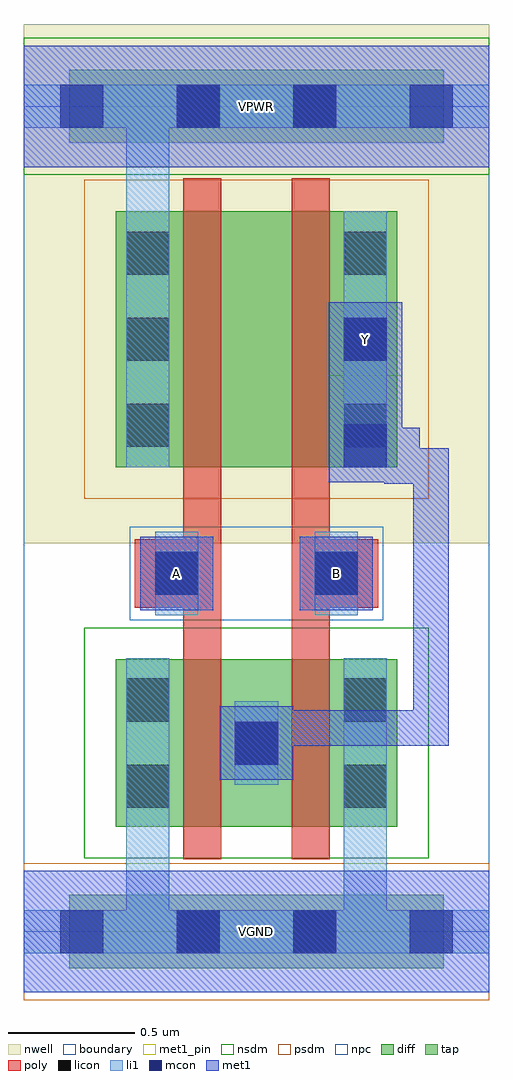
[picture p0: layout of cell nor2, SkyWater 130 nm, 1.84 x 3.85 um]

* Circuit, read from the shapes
.subckt nor2 A B VGND VPWR Y
XM1 Y A VGND VGND sky130_fd_pr__nfet_01v8 w=0.66 l=0.15
XM2 VGND B Y VGND sky130_fd_pr__nfet_01v8 w=0.66 l=0.15
XM3 n1 A VPWR VPWR sky130_fd_pr__pfet_01v8 w=1.01 l=0.15
XM4 Y B n1 VPWR sky130_fd_pr__pfet_01v8 w=1.01 l=0.15
.ends

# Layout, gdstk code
import gdstk
lib = gdstk.Library(unit=1e-6, precision=1e-09)
def R(c, l, rs):  # rectangles x0, y0, x1, y1
    for r in rs: c.add(gdstk.rectangle(r[:2], r[2:], *l))
def A(c, l, x, y, w, h, nx, ny, dx, dy):  # array of equal rectangles
    R(c, l, [(x+i*dx, y+j*dy, x+i*dx+w, y+j*dy+h) for i in range(nx) for j in range(ny)])
nwell = (64, 20)
diff = (65, 20)
tap = (65, 44)
poly = (66, 20)
licon = (66, 44)
li1 = (67, 20)
mcon = (67, 44)
met1_pin = (68, 16)
met1 = (68, 20)
nsdm = (93, 44)
psdm = (94, 20)
npc = (95, 20)
boundary = (235, 4)

nor2 = lib.new_cell('nor2')
R(nor2, nwell, [(0,1.535,1.84,3.585)])
R(nor2, diff, [(0.365,0.415,1.475,1.075), (0.365,1.835,1.475,2.845)])
R(nor2, tap, [(0.18,-0.145,1.66,0.145), (0.18,3.115,1.66,3.405)])
R(nor2, poly, [(0.63,0.285,0.78,2.975), (1.06,0.285,1.21,2.975), (0.44,1.28,0.77,1.55), (1.07,1.28,1.4,1.55)])
A(nor2, licon, 0.405, 1.915, 0.17, 0.17, 1, 3, 0, 0.34)
A(nor2, licon, 1.265, 1.915, 0.17, 0.17, 1, 3, 0, 0.34)
R(nor2, licon, [(0.605,-0.085,0.775,0.085), (1.065,-0.085,1.235,0.085), (0.405,0.49,0.575,0.66), (1.265,0.49,1.435,0.66), (0.835,0.66,1.005,0.83), (0.405,0.83,0.575,1), (1.265,0.83,1.435,1), (0.52,1.33,0.69,1.5), (1.15,1.33,1.32,1.5), (0.605,3.175,0.775,3.345), (1.065,3.175,1.235,3.345)])
R(nor2, li1, [(0,-0.085,1.84,0.085), (0.405,-0.085,0.575,1.08), (1.265,-0.085,1.435,1.08), (0.405,0.41,0.575,1.08), (1.265,0.41,1.435,1.08), (0.835,0.58,1.005,0.91), (0.52,1.25,0.69,1.58), (1.15,1.25,1.32,1.58), (0.405,1.835,0.575,2.845), (0.405,1.835,0.575,3.345), (1.265,1.835,1.435,2.845), (0,3.175,1.84,3.345)])
A(nor2, mcon, 0.145, -0.085, 0.17, 0.17, 4, 2, 0.46, 3.26)
R(nor2, mcon, [(0.835,0.66,1.005,0.83), (0.52,1.33,0.69,1.5), (1.15,1.33,1.32,1.5), (1.265,1.835,1.435,2.005), (1.265,2.255,1.435,2.425)])
R(nor2, met1_pin, [(0,-0.24,1.84,0.24), (0.46,1.27,0.75,1.56), (1.09,1.27,1.38,1.56), (1.205,2.195,1.495,2.485), (0,3.02,1.84,3.5)])
R(nor2, met1, [(0,-0.24,1.84,0.24), (0.775,0.6,1.065,0.89), (0.85,0.735,0.99,0.875), (0.85,0.735,1.68,0.875), (1.54,0.735,1.68,1.91), (0.46,1.27,0.75,1.56), (1.09,1.27,1.38,1.56), (1.425,1.77,1.565,1.99), (1.425,1.77,1.68,1.91), (1.205,1.775,1.495,2.065), (1.495,1.775,1.54,1.91), (1.495,1.775,1.54,1.91), (1.495,1.775,1.54,1.91), (1.495,1.775,1.54,1.91), (1.495,1.775,1.54,1.91), (1.495,1.775,1.54,1.91), (1.28,1.85,1.565,1.99), (1.425,1.91,1.495,1.99), (1.425,1.91,1.495,1.99), (1.425,1.91,1.495,1.99), (1.425,1.91,1.495,1.99), (1.425,1.91,1.495,1.99), (1.425,1.91,1.495,1.99), (1.425,1.91,1.495,1.99), (1.425,1.91,1.495,1.99), (1.28,1.99,1.495,2.065), (1.28,1.99,1.495,2.065), (1.28,1.99,1.495,2.065), (1.28,1.99,1.495,2.065), (1.28,1.99,1.495,2.065), (1.28,1.99,1.495,2.065), (1.425,1.99,1.495,2.065), (1.425,1.99,1.495,2.065), (1.425,1.99,1.495,2.065), (1.425,1.99,1.495,2.065), (1.425,1.99,1.495,2.065), (1.425,1.99,1.495,2.065), (1.205,2.065,1.495,2.195), (1.205,2.065,1.495,2.195), (1.205,2.065,1.495,2.195), (1.28,2.065,1.495,2.195), (1.28,2.065,1.495,2.195), (1.425,2.065,1.495,2.195), (1.425,2.065,1.495,2.195), (1.205,2.195,1.495,2.485), (0,3.02,1.84,3.5)])
R(nor2, nsdm, [(0.24,0.29,1.6,1.2), (0,2.99,1.84,3.53)])
R(nor2, psdm, [(0,-0.27,1.84,0.27), (0.24,1.71,1.6,2.97)])
R(nor2, npc, [(0.42,1.23,1.42,1.6)])
R(nor2, boundary, [(0,0,1.84,3.26)])
nor2.add(gdstk.Label('A', (0.605,1.415), layer=68, texttype=5))
nor2.add(gdstk.Label('B', (1.235,1.415), layer=68, texttype=5))
nor2.add(gdstk.Label('Y', (1.35,2.34), layer=68, texttype=5))
nor2.add(gdstk.Label('VPWR', (0.92,3.26), layer=68, texttype=5))
nor2.add(gdstk.Label('VGND', (0.92,0), layer=68, texttype=5))
nor2.add(gdstk.Label('A', (0.605,1.415), layer=68, texttype=16))
nor2.add(gdstk.Label('B', (1.235,1.415), layer=68, texttype=16))
nor2.add(gdstk.Label('Y', (1.35,2.34), layer=68, texttype=16))
nor2.add(gdstk.Label('VPWR', (0.92,3.26), layer=68, texttype=16))
nor2.add(gdstk.Label('VGND', (0.92,0), layer=68, texttype=16))

lib.write_gds('nor2.gds')
